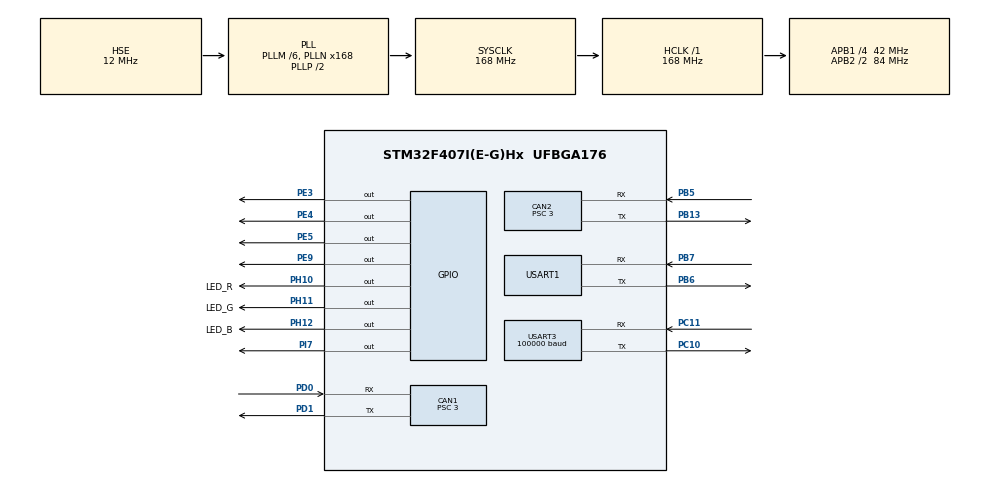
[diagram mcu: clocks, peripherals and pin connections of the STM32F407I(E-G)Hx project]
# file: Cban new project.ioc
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CAN1.BS1=CAN_BS1_10TQ
CAN1.BS2=CAN_BS2_3TQ
CAN1.CalculateBaudRate=1000000
CAN1.CalculateTimeBit=1000
CAN1.CalculateTimeQuantum=71.42857142857143
CAN1.Prescaler=3
CAN2.BS1=CAN_BS1_10TQ
CAN2.BS2=CAN_BS2_3TQ
CAN2.CalculateBaudRate=1000000
CAN2.CalculateTimeBit=1000
CAN2.CalculateTimeQuantum=71.42857142857143
CAN2.Prescaler=3
Dma.Request0=USART3_RX
Dma.Request1=USART1_RX
Dma.USART1_RX.1.Direction=DMA_PERIPH_TO_MEMORY
Dma.USART1_RX.1.FIFOMode=DMA_FIFOMODE_DISABLE
Dma.USART1_RX.1.Instance=DMA2_Stream2
Dma.USART1_RX.1.MemDataAlignment=DMA_MDATAALIGN_BYTE
Dma.USART1_RX.1.MemInc=DMA_MINC_ENABLE
Dma.USART1_RX.1.Mode=DMA_NORMAL
Dma.USART1_RX.1.PeriphDataAlignment=DMA_PDATAALIGN_BYTE
Dma.USART1_RX.1.PeriphInc=DMA_PINC_DISABLE
Dma.USART1_RX.1.Priority=DMA_PRIORITY_VERY_HIGH
Dma.USART3_RX.0.Direction=DMA_PERIPH_TO_MEMORY
Dma.USART3_RX.0.FIFOMode=DMA_FIFOMODE_DISABLE
Dma.USART3_RX.0.Instance=DMA1_Stream1
Dma.USART3_RX.0.MemDataAlignment=DMA_MDATAALIGN_BYTE
Dma.USART3_RX.0.MemInc=DMA_MINC_ENABLE
Dma.USART3_RX.0.Mode=DMA_CIRCULAR
Dma.USART3_RX.0.PeriphDataAlignment=DMA_PDATAALIGN_BYTE
Dma.USART3_RX.0.PeriphInc=DMA_PINC_DISABLE
Dma.USART3_RX.0.Priority=DMA_PRIORITY_VERY_HIGH
Mcu.Family=STM32F4
Mcu.Name=STM32F407I(E-G)Hx
Mcu.Package=UFBGA176
NVIC.CAN1_RX0_IRQn=true\:0\:0\:false\:false\:true\:true\:true\:true
NVIC.CAN2_RX0_IRQn=true\:0\:0\:false\:false\:true\:true\:true\:true
NVIC.DMA1_Stream1_IRQn=true\:0\:0\:false\:false\:true\:false\:true\:true
NVIC.DMA2_Stream2_IRQn=true\:0\:0\:false\:false\:true\:false\:true\:true
NVIC.PriorityGroup=NVIC_PRIORITYGROUP_4
NVIC.USART3_IRQn=true\:0\:0\:false\:false\:true\:true\:true\:true
PA13.Mode=Serial_Wire
PA13.Signal=SYS_JTMS-SWDIO
PA14.Mode=Serial_Wire
PA14.Signal=SYS_JTCK-SWCLK
PB13.Mode=CAN_Activate
PB13.Signal=CAN2_TX
PB5.Mode=CAN_Activate
PB5.Signal=CAN2_RX
PB6.Mode=Asynchronous
PB6.Signal=USART1_TX
PB7.Mode=Asynchronous
PB7.Signal=USART1_RX
PC10.Mode=Asynchronous
PC10.Signal=USART3_TX
PC11.Mode=Asynchronous
PC11.Signal=USART3_RX
PD0.Mode=CAN_Activate
PD0.Signal=CAN1_RX
PD1.Mode=CAN_Activate
PD1.Signal=CAN1_TX
PE3.GPIO_Speed=GPIO_SPEED_FREQ_LOW
PE3.PinState=GPIO_PIN_RESET
PE3.Signal=GPIO_Output
PE4.Signal=GPIO_Output
PE5.Signal=GPIO_Output
PE9.GPIO_PuPd=GPIO_NOPULL
PE9.GPIO_Speed=GPIO_SPEED_FREQ_LOW
PE9.Signal=GPIO_Output
PH0-OSC_IN.Mode=HSE-External-Oscillator
PH0-OSC_IN.Signal=RCC_OSC_IN
PH1-OSC_OUT.Mode=HSE-External-Oscillator
PH1-OSC_OUT.Signal=RCC_OSC_OUT
PH10.GPIO_Label=LED_R
PH10.Signal=GPIO_Output
PH11.GPIO_Label=LED_G
PH11.Signal=GPIO_Output
PH12.GPIO_Label=LED_B
PH12.Signal=GPIO_Output
PI7.Signal=GPIO_Output
ProjectManager.HeapSize=0x200
ProjectManager.StackSize=0x400
ProjectManager.TargetToolchain=MDK-ARM V5
RCC.48MHZClocksFreq_Value=84000000
RCC.AHBFreq_Value=168000000
RCC.APB1CLKDivider=RCC_HCLK_DIV4
RCC.APB1Freq_Value=42000000
RCC.APB1TimFreq_Value=84000000
RCC.APB2CLKDivider=RCC_HCLK_DIV2
RCC.APB2Freq_Value=84000000
RCC.APB2TimFreq_Value=168000000
RCC.CortexFreq_Value=168000000
RCC.HCLKFreq_Value=168000000
RCC.HSE_VALUE=12000000
RCC.HSI_VALUE=16000000
RCC.LSE_VALUE=32768
RCC.PLLM=6
RCC.PLLN=168
RCC.PLLSourceVirtual=RCC_PLLSOURCE_HSE
RCC.SYSCLKFreq_VALUE=168000000
RCC.SYSCLKSource=RCC_SYSCLKSOURCE_PLLCLK
RCC.VCOOutputFreq_Value=336000000
USART1.VirtualMode=VM_ASYNC
USART3.BaudRate=100000
USART3.Parity=PARITY_EVEN
USART3.VirtualMode=VM_ASYNC
board=custom

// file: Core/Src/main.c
/* USER CODE BEGIN Header */
/**
  ******************************************************************************
  * @file           : main.c
  * @brief          : Main program body
  ******************************************************************************
  * @attention
  *
  * Copyright (c) 2023 STMicroelectronics.
  * All rights reserved.
  *
  * This software is licensed under terms that can be found in the LICENSE file
  * in the root directory of this software component.
  * If no LICENSE file comes with this software, it is provided AS-IS.
  *
  ******************************************************************************
  */
/* USER CODE END Header */
#include "main.h"
#include "can.h"
#include "dma.h"
#include "usart.h"
#include "gpio.h"

/* USER CODE BEGIN Includes */
#include <stdio.h>
#include <stdarg.h>
#include "string.h"
#include "remote_control.h"
#include "bsp_rc.h"
#include "bsp_can.h"
#include "CAN_receive.h"
#include "pid.h"
#include "chassis_task.h"

/* USER CODE END Includes */

/* USER CODE BEGIN PTD */
//uint8_t UARTBUF[100];
//uint8_t len=0;

//float Control_High;

//float Control_Down;
/* USER CODE END PTD */

void SystemClock_Config(void);
/* USER CODE BEGIN PFP */
void usart_printf(const char *fmt,...)
{
    static uint8_t tx_buf[256] = {0};
    static va_list ap;
    static uint16_t len;
    va_start(ap, fmt);

    //return length of string
    //返回字符串长度
    len = vsprintf((char *)tx_buf, fmt, ap);

    va_end(ap);

    HAL_UART_Transmit_DMA(&huart1,tx_buf, len);

}

/* USER CODE END PFP */

int main(void)
{

  /* MCU Configuration--------------------------------------------------------*/

  /* Reset of all peripherals, Initializes the Flash interface and the Systick. */
  HAL_Init();

  /* Configure the system clock */
  SystemClock_Config();

  /* Initialize all configured peripherals */
  MX_GPIO_Init();
  MX_DMA_Init();
  MX_USART3_UART_Init();
  MX_USART1_UART_Init();
  MX_CAN1_Init();
  MX_CAN2_Init();
  /* USER CODE BEGIN 2 */
__HAL_UART_ENABLE_IT(&huart3,UART_IT_RXNE); //直接中断
__HAL_UART_ENABLE_IT(&huart3,UART_IT_IDLE); //空闲中断
can_filter_init();
  remote_control_init();
  /* USER CODE END 2 */
	 //can_filter_init();
  /* Infinite loop */
  /* USER CODE BEGIN WHILE */

  while (1)
  {
    /* USER CODE END WHILE */\
		HAL_Delay(50);
		Chassis_Task();
   }
}

void SystemClock_Config(void)
{
  RCC_OscInitTypeDef RCC_OscInitStruct = {0};
  RCC_ClkInitTypeDef RCC_ClkInitStruct = {0};

  /** Configure the main internal regulator output voltage
  */
  __HAL_RCC_PWR_CLK_ENABLE();
  __HAL_PWR_VOLTAGESCALING_CONFIG(PWR_REGULATOR_VOLTAGE_SCALE1);

  /** Initializes the RCC Oscillators according to the specified parameters
  * in the RCC_OscInitTypeDef structure.
  */
  RCC_OscInitStruct.OscillatorType = RCC_OSCILLATORTYPE_HSE;
  RCC_OscInitStruct.HSEState = RCC_HSE_ON;
  RCC_OscInitStruct.PLL.PLLState = RCC_PLL_ON;
  RCC_OscInitStruct.PLL.PLLSource = RCC_PLLSOURCE_HSE;
  RCC_OscInitStruct.PLL.PLLM = 6;
  RCC_OscInitStruct.PLL.PLLN = 168;
  RCC_OscInitStruct.PLL.PLLP = RCC_PLLP_DIV2;
  RCC_OscInitStruct.PLL.PLLQ = 4;
  if (HAL_RCC_OscConfig(&RCC_OscInitStruct) != HAL_OK)
  {
    Error_Handler();
  }

  /** Initializes the CPU, AHB and APB buses clocks
  */
  RCC_ClkInitStruct.ClockType = RCC_CLOCKTYPE_HCLK|RCC_CLOCKTYPE_SYSCLK
                              |RCC_CLOCKTYPE_PCLK1|RCC_CLOCKTYPE_PCLK2;
  RCC_ClkInitStruct.SYSCLKSource = RCC_SYSCLKSOURCE_PLLCLK;
  RCC_ClkInitStruct.AHBCLKDivider = RCC_SYSCLK_DIV1;
  RCC_ClkInitStruct.APB1CLKDivider = RCC_HCLK_DIV4;
  RCC_ClkInitStruct.APB2CLKDivider = RCC_HCLK_DIV2;

  if (HAL_RCC_ClockConfig(&RCC_ClkInitStruct, FLASH_LATENCY_5) != HAL_OK)
  {
    Error_Handler();
  }
}

void Error_Handler(void)
{
  __disable_irq();
  while (1)
  {
  }
}
